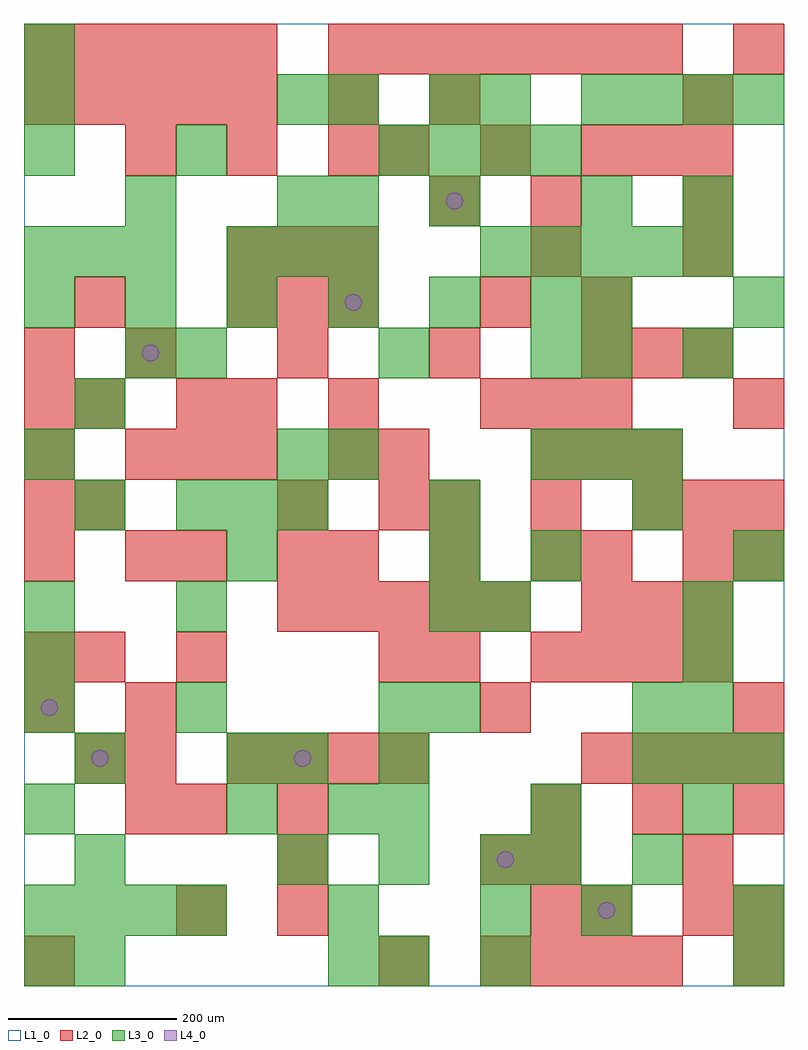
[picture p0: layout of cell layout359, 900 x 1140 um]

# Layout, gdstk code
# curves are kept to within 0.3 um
import gdstk
lib = gdstk.Library(unit=1e-6, precision=1e-09)
def R(c, l, rs):  # rectangles x0, y0, x1, y1
    for r in rs: c.add(gdstk.rectangle(r[:2], r[2:], *l))
def A(c, l, x, y, w, h, nx, ny, dx, dy):  # array of equal rectangles
    R(c, l, [(x+i*dx, y+j*dy, x+i*dx+w, y+j*dy+h) for i in range(nx) for j in range(ny)])
def P(c, l, *ps):  # polygons
    for p in ps: c.add(gdstk.Polygon(p, *l))
L1_0 = (1, 0)
L2_0 = (2, 0)
L3_0 = (3, 0)
L4_0 = (4, 0)

layout359 = lib.new_cell('layout359')
R(layout359, L1_0, [(0,0,900,1140)])
A(layout359, L2_0, 540, 0, 60, 60, 4, 1, 60, 0)
A(layout359, L2_0, 300, 60, 60, 60, 1, 3, 0, 60)
A(layout359, L2_0, 120, 180, 60, 60, 1, 3, 0, 60)
A(layout359, L2_0, 600, 180, 60, 60, 3, 1, 120, 0)
A(layout359, L2_0, 240, 240, 60, 60, 4, 1, 60, 0)
A(layout359, L2_0, 660, 240, 60, 60, 4, 1, 60, 0)
A(layout359, L2_0, 600, 360, 60, 60, 4, 1, 60, 0)
A(layout359, L2_0, 300, 420, 60, 60, 5, 1, 60, 0)
A(layout359, L2_0, 660, 420, 60, 60, 3, 1, 60, 0)
A(layout359, L2_0, 0, 480, 60, 60, 1, 5, 0, 60)
A(layout359, L2_0, 360, 480, 60, 60, 3, 1, 120, 0)
A(layout359, L2_0, 60, 540, 60, 60, 1, 3, 0, 120)
A(layout359, L2_0, 480, 540, 60, 60, 3, 1, 120, 0)
A(layout359, L2_0, 120, 600, 60, 60, 3, 1, 60, 0)
A(layout359, L2_0, 600, 600, 60, 60, 3, 1, 60, 0)
A(layout359, L2_0, 540, 660, 60, 60, 3, 1, 60, 0)
A(layout359, L2_0, 120, 720, 60, 60, 4, 1, 180, 0)
A(layout359, L2_0, 240, 780, 60, 60, 3, 2, 60, 60)
A(layout359, L2_0, 780, 840, 60, 60, 1, 4, 0, 60)
A(layout359, L2_0, 120, 960, 60, 60, 3, 1, 120, 0)
A(layout359, L2_0, 420, 960, 60, 60, 3, 1, 120, 0)
A(layout359, L2_0, 0, 1020, 60, 60, 5, 2, 60, 60)
A(layout359, L2_0, 360, 1080, 60, 60, 7, 1, 60, 0)
R(layout359, L2_0, [(0,0,60,60), (420,0,480,60), (840,0,900,60), (180,60,240,120), (600,60,660,120), (660,60,720,120), (780,60,840,120), (840,60,900,120), (540,120,600,180), (600,120,660,180), (780,120,840,180), (180,180,240,240), (60,240,120,300), (0,300,60,360), (540,300,600,360), (840,300,900,360), (0,360,60,420), (60,360,120,420), (180,360,240,420), (420,360,480,420), (480,360,540,420), (120,480,180,540), (180,480,240,540), (300,480,360,540), (660,480,720,540), (780,480,840,540), (840,480,900,540), (300,540,360,600), (420,540,480,600), (780,540,840,600), (840,540,900,600), (360,600,420,660), (420,600,480,660), (180,660,240,720), (240,660,300,720), (360,660,420,720), (840,660,900,720), (720,720,780,780), (780,720,840,780), (540,780,600,840), (660,780,720,840), (600,840,660,900), (480,900,540,960), (600,900,660,960), (720,960,780,1020), (360,1020,420,1080), (480,1020,540,1080), (840,1080,900,1140)])
A(layout359, L3_0, 60, 0, 60, 60, 1, 3, 0, 120)
A(layout359, L3_0, 0, 60, 60, 60, 4, 1, 60, 0)
A(layout359, L3_0, 300, 120, 60, 60, 3, 1, 120, 0)
A(layout359, L3_0, 420, 180, 60, 60, 3, 1, 180, 0)
A(layout359, L3_0, 720, 240, 60, 60, 3, 1, 60, 0)
A(layout359, L3_0, 0, 300, 60, 60, 1, 3, 0, 60)
A(layout359, L3_0, 780, 300, 60, 60, 1, 3, 0, 60)
A(layout359, L3_0, 480, 420, 60, 60, 1, 3, 0, 60)
A(layout359, L3_0, 180, 540, 60, 60, 3, 1, 60, 0)
A(layout359, L3_0, 600, 600, 60, 60, 3, 1, 60, 0)
A(layout359, L3_0, 0, 780, 60, 60, 6, 1, 120, 0)
A(layout359, L3_0, 0, 840, 60, 60, 3, 1, 60, 0)
A(layout359, L3_0, 240, 840, 60, 60, 3, 1, 60, 0)
A(layout359, L3_0, 540, 840, 60, 60, 5, 1, 60, 0)
A(layout359, L3_0, 0, 960, 60, 60, 1, 3, 0, 60)
A(layout359, L3_0, 420, 960, 60, 60, 4, 1, 60, 0)
A(layout359, L3_0, 660, 1020, 60, 60, 4, 1, 60, 0)
R(layout359, L3_0, [(0,0,60,60), (360,0,420,60), (420,0,480,60), (540,0,600,60), (840,0,900,60), (360,60,420,120), (540,60,600,120), (660,60,720,120), (840,60,900,120), (600,120,660,180), (720,120,780,180), (0,180,60,240), (240,180,300,240), (360,180,420,240), (240,240,300,300), (300,240,360,300), (420,240,480,300), (180,300,240,360), (420,300,480,360), (480,300,540,360), (720,300,780,360), (180,420,240,480), (540,420,600,480), (240,480,300,540), (600,480,660,540), (840,480,900,540), (60,540,120,600), (720,540,780,600), (0,600,60,660), (300,600,360,660), (360,600,420,660), (60,660,120,720), (120,720,180,780), (180,720,240,780), (420,720,480,780), (600,720,660,780), (660,720,720,780), (780,720,840,780), (660,780,720,840), (840,780,900,840), (120,900,180,960), (300,900,360,960), (360,900,420,960), (480,900,540,960), (660,900,720,960), (780,900,840,960), (180,960,240,1020), (300,1020,360,1080), (360,1020,420,1080), (480,1020,540,1080), (540,1020,600,1080)])
P(layout359, L4_0, [(40,330),(39.239,333.827),(37.071,337.071),(33.827,339.239),(30,340),(26.173,339.239),(22.929,337.071),(20.761,333.827),(20,330),(20.761,326.173),(22.929,322.929),(26.173,320.761),(30,320),(33.827,320.761),(37.071,322.929),(39.239,326.173)],
  [(100,270),(99.239,273.827),(97.071,277.071),(93.827,279.239),(90,280),(86.173,279.239),(82.929,277.071),(80.761,273.827),(80,270),(80.761,266.173),(82.929,262.929),(86.173,260.761),(90,260),(93.827,260.761),(97.071,262.929),(99.239,266.173)],
  [(160,750),(159.239,753.827),(157.071,757.071),(153.827,759.239),(150,760),(146.173,759.239),(142.929,757.071),(140.761,753.827),(140,750),(140.761,746.173),(142.929,742.929),(146.173,740.761),(150,740),(153.827,740.761),(157.071,742.929),(159.239,746.173)],
  [(340,270),(339.239,273.827),(337.071,277.071),(333.827,279.239),(330,280),(326.173,279.239),(322.929,277.071),(320.761,273.827),(320,270),(320.761,266.173),(322.929,262.929),(326.173,260.761),(330,260),(333.827,260.761),(337.071,262.929),(339.239,266.173)],
  [(400,810),(399.239,813.827),(397.071,817.071),(393.827,819.239),(390,820),(386.173,819.239),(382.929,817.071),(380.761,813.827),(380,810),(380.761,806.173),(382.929,802.929),(386.173,800.761),(390,800),(393.827,800.761),(397.071,802.929),(399.239,806.173)],
  [(520,930),(519.239,933.827),(517.071,937.071),(513.827,939.239),(510,940),(506.173,939.239),(502.929,937.071),(500.761,933.827),(500,930),(500.761,926.173),(502.929,922.929),(506.173,920.761),(510,920),(513.827,920.761),(517.071,922.929),(519.239,926.173)],
  [(580,150),(579.239,153.827),(577.071,157.071),(573.827,159.239),(570,160),(566.173,159.239),(562.929,157.071),(560.761,153.827),(560,150),(560.761,146.173),(562.929,142.929),(566.173,140.761),(570,140),(573.827,140.761),(577.071,142.929),(579.239,146.173)],
  [(700,90),(699.239,93.827),(697.071,97.071),(693.827,99.239),(690,100),(686.173,99.239),(682.929,97.071),(680.761,93.827),(680,90),(680.761,86.173),(682.929,82.929),(686.173,80.761),(690,80),(693.827,80.761),(697.071,82.929),(699.239,86.173)])

lib.write_gds('layout359.gds')
